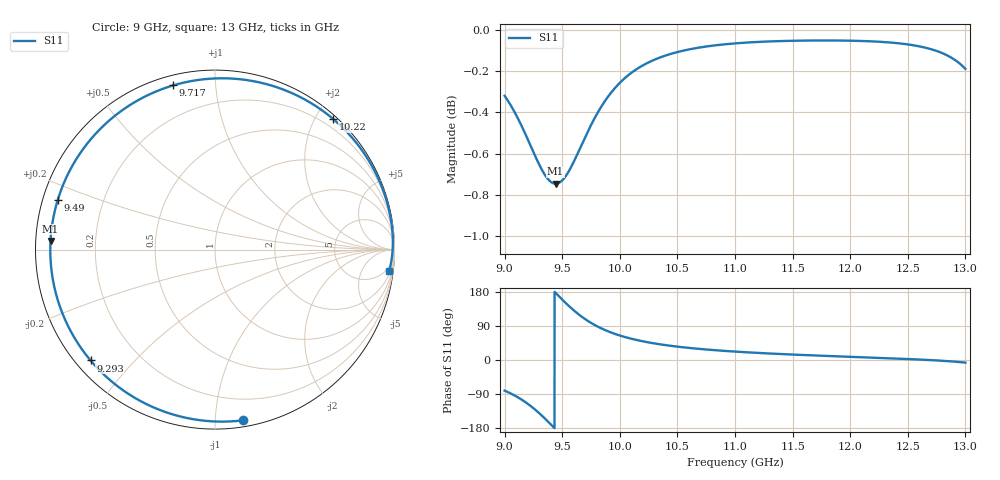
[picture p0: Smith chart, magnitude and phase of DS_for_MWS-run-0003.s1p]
! TOUCHSTONE file generated by CST DESIGN STUDIO
! Date and time: Tue Feb  4 17:54:03 2025
! Project name: C:\Work\MatlabApps\UnitCellOptimizationMatlab\CST\unitcell.cst
! Tree item: Tasks\Sweep1\SPara1\S-Parameters
! Header version: 2024
! Port assignment regex: !\s*Touchstone port\s*([0-9]+)\s*=\s*(CST MWS port|CST DES external port|CST DES block port)\s*(.+)\s* \(\"(.*)\"\)(\s*mode\s*([0-9]+))?.*
! Touchstone port assignment:
! Touchstone port 1 = CST DES external port 1 ("")
# GHz S MA R 50
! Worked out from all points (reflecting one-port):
!   4001 points, 9 GHz to 13 GHz, reference 50 ohm
!   lowest |S11| = -0.7 dB at 9.443 GHz (marker M1), VSWR 23.29, Z = 2.15 + j1.29 ohm
!   phase of S11 starts at -81 deg and turns -286 deg over the sweep
!   S11 on the Smith chart (normalised r, x): 9 GHz: 0.04, -1.17; 9.293 GHz: 0.04, -0.38; 9.49 GHz: 0.04, +0.15; 9.717 GHz: 0.05, +0.78; 10.22 GHz: 0.06, +2.25; 13 GHz: 3, -16
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9  0.964 -80.8
9.091  0.9547 -94.3
9.164  0.9457 -107.8
9.23  0.9368 -122.3
9.293  0.9284 -138.3
9.373  0.9203 -161.4
9.408  0.9183 -172.1
9.443  0.9177 177.0
9.49  0.9188 162.5
9.5  0.9194 159.5
9.555  0.9239 143.3
9.607  0.9298 129.3
9.66  0.9367 116.4
9.717  0.9442 104.2
9.781  0.9519 92.6
9.856  0.9597 81.1
9.926  0.9658 72.4
10  0.971 64.6
10.105  0.9766 55.7
10.223  0.9813 47.9
10.5  0.9878 35.2
10.723  0.9907 28.4
11  0.9926 22.2
11.5  0.9941 14.4
12  0.9941 8.4
12.5  0.9921 2.6
12.783  0.9877 -1.7
13  0.9786 -6.9
